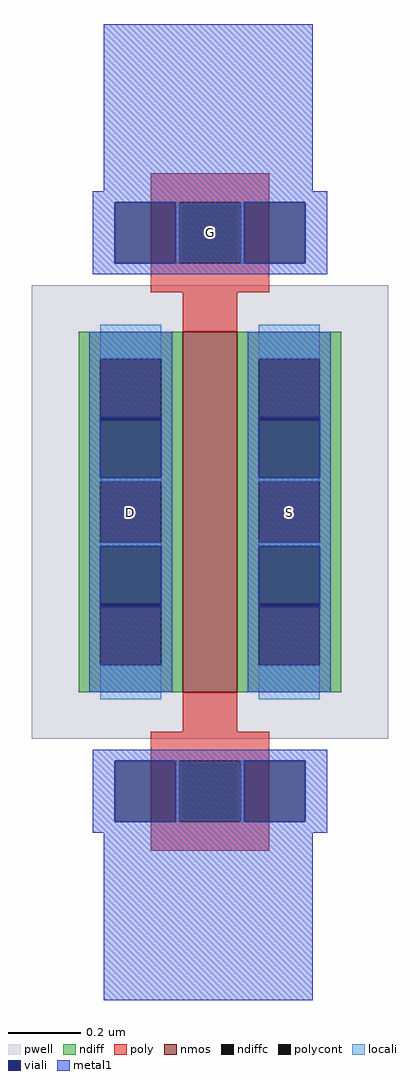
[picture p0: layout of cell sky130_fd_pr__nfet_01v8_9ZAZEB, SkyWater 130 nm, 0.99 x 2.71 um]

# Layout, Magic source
magic
tech sky130B
magscale 1 2
<< pwell >>
rect -99 -126 99 126
<< nmos >>
rect -15 -100 15 100
<< ndiff >>
rect -73 85 -15 100
rect -73 51 -61 85
rect -27 51 -15 85
rect -73 17 -15 51
rect -73 -17 -61 17
rect -27 -17 -15 17
rect -73 -51 -15 -17
rect -73 -85 -61 -51
rect -27 -85 -15 -51
rect -73 -100 -15 -85
rect 15 85 73 100
rect 15 51 27 85
rect 61 51 73 85
rect 15 17 73 51
rect 15 -17 27 17
rect 61 -17 73 17
rect 15 -51 73 -17
rect 15 -85 27 -51
rect 61 -85 73 -51
rect 15 -100 73 -85
<< ndiffc >>
rect -61 51 -27 85
rect -61 -17 -27 17
rect -61 -85 -27 -51
rect 27 51 61 85
rect 27 -17 61 17
rect 27 -85 61 -51
<< poly >>
rect -33 172 33 188
rect -33 138 -17 172
rect 17 138 33 172
rect -33 122 33 138
rect -15 100 15 122
rect -15 -122 15 -100
rect -33 -138 33 -122
rect -33 -172 -17 -138
rect 17 -172 33 -138
rect -33 -188 33 -172
<< polycont >>
rect -17 138 17 172
rect -17 -172 17 -138
<< locali >>
rect -19 138 -17 172
rect 17 138 19 172
rect -61 85 -27 104
rect -61 17 -27 19
rect -61 -19 -27 -17
rect -61 -104 -27 -85
rect 27 85 61 104
rect 27 17 61 19
rect 27 -19 61 -17
rect 27 -104 61 -85
rect -19 -172 -17 -138
rect 17 -172 19 -138
<< viali >>
rect -53 138 -19 172
rect 19 138 53 172
rect -61 51 -27 53
rect -61 19 -27 51
rect -61 -51 -27 -19
rect -61 -53 -27 -51
rect 27 51 61 53
rect 27 19 61 51
rect 27 -51 61 -19
rect 27 -53 61 -51
rect -53 -172 -19 -138
rect 19 -172 53 -138
<< metal1 >>
rect -59 178 57 271
rect -65 172 65 178
rect -65 138 -53 172
rect -19 138 19 172
rect 53 138 65 172
rect -65 132 65 138
rect -67 53 -21 100
rect -67 19 -61 53
rect -27 19 -21 53
rect -67 -19 -21 19
rect -67 -53 -61 -19
rect -27 -53 -21 -19
rect -67 -100 -21 -53
rect 21 53 67 100
rect 21 19 27 53
rect 61 19 67 53
rect 21 -19 67 19
rect 21 -53 27 -19
rect 61 -53 67 -19
rect 21 -100 67 -53
rect -65 -138 65 -132
rect -65 -172 -53 -138
rect -19 -172 19 -138
rect 53 -172 65 -138
rect -65 -178 65 -172
rect -59 -271 57 -178
<< labels >>
rlabel locali s 0 155 0 155 4 G
rlabel locali s 44 0 44 0 4 S
rlabel locali s -44 0 -44 0 4 D
<< end >>
